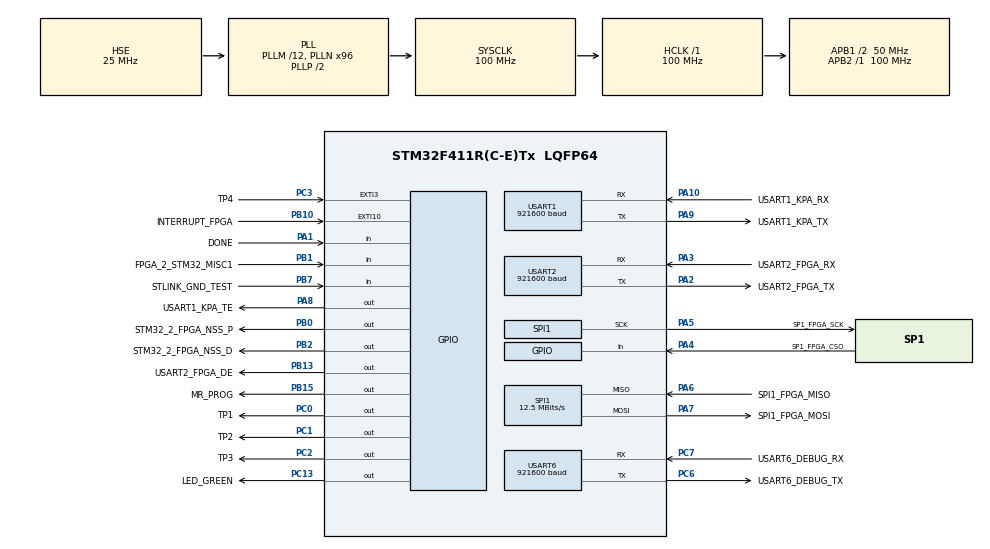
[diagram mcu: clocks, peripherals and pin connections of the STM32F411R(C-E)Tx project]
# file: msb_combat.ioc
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ADC1.Channel-0\#ChannelRegularConversion=ADC_CHANNEL_VREFINT
ADC1.Channel-1\#ChannelRegularConversion=ADC_CHANNEL_TEMPSENSOR
ADC1.ContinuousConvMode=DISABLE
ADC1.ExternalTrigConv=ADC_SOFTWARE_START
ADC1.InjNumberOfConversion=0
ADC1.NbrOfConversion=2
ADC1.NbrOfConversionFlag=1
ADC1.Rank-0\#ChannelRegularConversion=1
ADC1.Rank-1\#ChannelRegularConversion=2
ADC1.SamplingTime-0\#ChannelRegularConversion=ADC_SAMPLETIME_480CYCLES
ADC1.SamplingTime-1\#ChannelRegularConversion=ADC_SAMPLETIME_480CYCLES
ADC1.ScanConvMode=ENABLE
ADC1.master=1
Dma.Request0=USART6_RX
Dma.Request1=USART6_TX
Dma.Request2=USART1_RX
Dma.Request3=USART1_TX
Dma.Request4=USART2_RX
Dma.Request5=USART2_TX
Dma.USART1_RX.2.Direction=DMA_PERIPH_TO_MEMORY
Dma.USART1_RX.2.FIFOMode=DMA_FIFOMODE_DISABLE
Dma.USART1_RX.2.Instance=DMA2_Stream2
Dma.USART1_RX.2.MemDataAlignment=DMA_MDATAALIGN_BYTE
Dma.USART1_RX.2.MemInc=DMA_MINC_ENABLE
Dma.USART1_RX.2.Mode=DMA_CIRCULAR
Dma.USART1_RX.2.PeriphDataAlignment=DMA_PDATAALIGN_BYTE
Dma.USART1_RX.2.PeriphInc=DMA_PINC_DISABLE
Dma.USART1_RX.2.Priority=DMA_PRIORITY_LOW
Dma.USART1_TX.3.Direction=DMA_MEMORY_TO_PERIPH
Dma.USART1_TX.3.FIFOMode=DMA_FIFOMODE_DISABLE
Dma.USART1_TX.3.Instance=DMA2_Stream7
Dma.USART1_TX.3.MemDataAlignment=DMA_MDATAALIGN_BYTE
Dma.USART1_TX.3.MemInc=DMA_MINC_ENABLE
Dma.USART1_TX.3.Mode=DMA_NORMAL
Dma.USART1_TX.3.PeriphDataAlignment=DMA_PDATAALIGN_BYTE
Dma.USART1_TX.3.PeriphInc=DMA_PINC_DISABLE
Dma.USART1_TX.3.Priority=DMA_PRIORITY_LOW
Dma.USART2_RX.4.Direction=DMA_PERIPH_TO_MEMORY
Dma.USART2_RX.4.FIFOMode=DMA_FIFOMODE_DISABLE
Dma.USART2_RX.4.Instance=DMA1_Stream5
Dma.USART2_RX.4.MemDataAlignment=DMA_MDATAALIGN_BYTE
Dma.USART2_RX.4.MemInc=DMA_MINC_ENABLE
Dma.USART2_RX.4.Mode=DMA_NORMAL
Dma.USART2_RX.4.PeriphDataAlignment=DMA_PDATAALIGN_BYTE
Dma.USART2_RX.4.PeriphInc=DMA_PINC_DISABLE
Dma.USART2_RX.4.Priority=DMA_PRIORITY_LOW
Dma.USART2_TX.5.Direction=DMA_MEMORY_TO_PERIPH
Dma.USART2_TX.5.FIFOMode=DMA_FIFOMODE_DISABLE
Dma.USART2_TX.5.Instance=DMA1_Stream6
Dma.USART2_TX.5.MemDataAlignment=DMA_MDATAALIGN_BYTE
Dma.USART2_TX.5.MemInc=DMA_MINC_ENABLE
Dma.USART2_TX.5.Mode=DMA_NORMAL
Dma.USART2_TX.5.PeriphDataAlignment=DMA_PDATAALIGN_BYTE
Dma.USART2_TX.5.PeriphInc=DMA_PINC_DISABLE
Dma.USART2_TX.5.Priority=DMA_PRIORITY_LOW
Dma.USART6_RX.0.Direction=DMA_PERIPH_TO_MEMORY
Dma.USART6_RX.0.FIFOMode=DMA_FIFOMODE_DISABLE
Dma.USART6_RX.0.Instance=DMA2_Stream1
Dma.USART6_RX.0.MemDataAlignment=DMA_MDATAALIGN_BYTE
Dma.USART6_RX.0.MemInc=DMA_MINC_ENABLE
Dma.USART6_RX.0.Mode=DMA_CIRCULAR
Dma.USART6_RX.0.PeriphDataAlignment=DMA_PDATAALIGN_BYTE
Dma.USART6_RX.0.PeriphInc=DMA_PINC_DISABLE
Dma.USART6_RX.0.Priority=DMA_PRIORITY_LOW
Dma.USART6_TX.1.Direction=DMA_MEMORY_TO_PERIPH
Dma.USART6_TX.1.FIFOMode=DMA_FIFOMODE_DISABLE
Dma.USART6_TX.1.Instance=DMA2_Stream6
Dma.USART6_TX.1.MemDataAlignment=DMA_MDATAALIGN_BYTE
Dma.USART6_TX.1.MemInc=DMA_MINC_ENABLE
Dma.USART6_TX.1.Mode=DMA_NORMAL
Dma.USART6_TX.1.PeriphDataAlignment=DMA_PDATAALIGN_BYTE
Dma.USART6_TX.1.PeriphInc=DMA_PINC_DISABLE
Dma.USART6_TX.1.Priority=DMA_PRIORITY_LOW
FREERTOS.Tasks01=defaultTask,32,1024,StartDefaultTask,Default,NULL,Dynamic,NULL,NULL;TerminalTask,24,1024,StartTerminalTask,Default,NULL,Dynamic,NULL,NULL;TemperatureTask,8,1024,StartTemperatureTask,Default,NULL,Dynamic,NULL,NULL
FREERTOS.configTOTAL_HEAP_SIZE=32768
FREERTOS.configUSE_NEWLIB_REENTRANT=1
Mcu.Family=STM32F4
Mcu.Name=STM32F411R(C-E)Tx
Mcu.Package=LQFP64
NVIC.DMA1_Stream5_IRQn=true\:5\:0\:false\:false\:true\:true\:false\:true\:true
NVIC.DMA1_Stream6_IRQn=true\:5\:0\:false\:false\:true\:true\:false\:true\:true
NVIC.DMA2_Stream1_IRQn=true\:5\:0\:false\:false\:true\:true\:false\:true\:true
NVIC.DMA2_Stream2_IRQn=true\:5\:0\:false\:false\:true\:true\:false\:true\:true
NVIC.DMA2_Stream6_IRQn=true\:5\:0\:false\:false\:true\:true\:false\:true\:true
NVIC.DMA2_Stream7_IRQn=true\:5\:0\:false\:false\:true\:true\:false\:true\:true
NVIC.PriorityGroup=NVIC_PRIORITYGROUP_4
NVIC.TIM1_UP_TIM10_IRQn=true\:15\:0\:false\:false\:true\:false\:false\:true\:true
NVIC.TimeBase=TIM1_UP_TIM10_IRQn
NVIC.TimeBaseIP=TIM10
NVIC.USART1_IRQn=true\:5\:0\:false\:false\:true\:true\:true\:true\:true
NVIC.USART2_IRQn=true\:5\:0\:false\:false\:true\:true\:true\:true\:true
NVIC.USART6_IRQn=true\:5\:0\:false\:false\:true\:true\:true\:true\:true
PA1.GPIO_Label=DONE
PA1.Signal=GPIO_Input
PA10.GPIO_Label=USART1_KPA_RX
PA10.Mode=Asynchronous
PA10.Signal=USART1_RX
PA13.Mode=Trace_Asynchronous_SW
PA13.Signal=SYS_JTMS-SWDIO
PA14.Mode=Trace_Asynchronous_SW
PA14.Signal=SYS_JTCK-SWCLK
PA2.GPIO_Label=USART2_FPGA_TX
PA2.Mode=Asynchronous
PA2.Signal=USART2_TX
PA3.GPIO_Label=USART2_FPGA_RX
PA3.Mode=Asynchronous
PA3.Signal=USART2_RX
PA4.GPIO_Label=SP1_FPGA_CSO
PA4.Signal=GPIO_Input
PA5.GPIO_Label=SP1_FPGA_SCK
PA5.Mode=Full_Duplex_Master
PA5.Signal=SPI1_SCK
PA6.GPIO_Label=SPI1_FPGA_MISO
PA6.Mode=Full_Duplex_Master
PA6.Signal=SPI1_MISO
PA7.GPIO_Label=SPI1_FPGA_MOSI
PA7.Mode=Full_Duplex_Master
PA7.Signal=SPI1_MOSI
PA8.GPIO_Label=USART1_KPA_TE
PA8.Signal=GPIO_Output
PA9.GPIO_Label=USART1_KPA_TX
PA9.Mode=Asynchronous
PA9.Signal=USART1_TX
PB0.GPIO_Label=STM32_2_FPGA_NSS_P
PB0.GPIO_PuPd=GPIO_PULLUP
PB0.GPIO_Speed=GPIO_SPEED_FREQ_VERY_HIGH
PB0.PinState=GPIO_PIN_SET
PB0.Signal=GPIO_Output
PB1.GPIO_Label=FPGA_2_STM32_MISC1
PB1.GPIO_PuPd=GPIO_PULLUP
PB1.Signal=GPIO_Input
PB10.GPIO_Label=INTERRUPT_FPGA
PB10.Signal=GPXTI10
PB13.GPIO_Label=USART2_FPGA_DE
PB13.GPIO_Speed=GPIO_SPEED_FREQ_HIGH
PB13.Signal=GPIO_Output
PB15.GPIO_Label=MR_PROG
PB15.Signal=GPIO_Output
PB2.GPIO_Label=STM32_2_FPGA_NSS_D
PB2.PinState=GPIO_PIN_SET
PB2.Signal=GPIO_Output
PB3.Mode=Trace_Asynchronous_SW
PB3.Signal=SYS_JTDO-SWO
PB7.GPIO_Label=STLINK_GND_TEST
PB7.GPIO_PuPd=GPIO_PULLUP
PB7.Signal=GPIO_Input
PC0.GPIO_Label=TP1
PC0.Signal=GPIO_Output
PC1.GPIO_Label=TP2
PC1.Signal=GPIO_Output
PC13-ANTI_TAMP.GPIO_Label=LED_GREEN
PC13-ANTI_TAMP.Signal=GPIO_Output
PC2.GPIO_Label=TP3
PC2.Signal=GPIO_Output
PC3.GPIO_Label=TP4
PC3.Signal=GPXTI3
PC6.GPIO_Label=USART6_DEBUG_TX
PC6.Mode=Asynchronous
PC6.Signal=USART6_TX
PC7.GPIO_Label=USART6_DEBUG_RX
PC7.Mode=Asynchronous
PC7.Signal=USART6_RX
PH0\ -\ OSC_IN.GPIO_Label=CLK25MHZ
PH0\ -\ OSC_IN.Mode=HSE-External-Clock-Source
PH0\ -\ OSC_IN.Signal=RCC_OSC_IN
PH1\ -\ OSC_OUT.Mode=HSE-External-Clock-Source
PH1\ -\ OSC_OUT.Signal=RCC_OSC_OUT
ProjectManager.HeapSize=0x4000
ProjectManager.StackSize=0x2000
ProjectManager.TargetToolchain=STM32CubeIDE
RCC.48MHZClocksFreq_Value=50000000
RCC.AHBFreq_Value=100000000
RCC.APB1CLKDivider=RCC_HCLK_DIV2
RCC.APB1Freq_Value=50000000
RCC.APB1TimFreq_Value=100000000
RCC.APB2Freq_Value=100000000
RCC.APB2TimFreq_Value=100000000
RCC.CortexFreq_Value=100000000
RCC.HCLKFreq_Value=100000000
RCC.HSE_VALUE=25000000
RCC.HSI_VALUE=16000000
RCC.LSE_VALUE=32768
RCC.PLLM=12
RCC.PLLN=96
RCC.PLLSourceVirtual=RCC_PLLSOURCE_HSE
RCC.SYSCLKFreq_VALUE=100000000
RCC.SYSCLKSource=RCC_SYSCLKSOURCE_PLLCLK
RCC.VCOOutputFreq_Value=200000000
SPI1.BaudRatePrescaler=SPI_BAUDRATEPRESCALER_8
SPI1.CLKPolarity=SPI_POLARITY_LOW
SPI1.CalculateBaudRate=12.5 MBits/s
SPI1.DataSize=SPI_DATASIZE_16BIT
SPI1.Direction=SPI_DIRECTION_2LINES
SPI1.Mode=SPI_MODE_MASTER
SPI1.VirtualType=VM_MASTER
USART1.BaudRate=921600
USART1.Parity=PARITY_EVEN
USART1.VirtualMode=VM_ASYNC
USART1.WordLength=WORDLENGTH_9B
USART2.BaudRate=921600
USART2.Parity=PARITY_EVEN
USART2.VirtualMode=VM_ASYNC
USART2.WordLength=WORDLENGTH_9B
USART6.BaudRate=921600
USART6.Parity=PARITY_EVEN
USART6.VirtualMode=VM_ASYNC
USART6.WordLength=WORDLENGTH_9B
VP_ADC1_TempSens_Input.Mode=IN-TempSens
VP_ADC1_Vref_Input.Mode=IN-Vrefint
VP_CRC_VS_CRC.Mode=CRC_Activate
VP_FREERTOS_VS_CMSIS_V2.Mode=CMSIS_V2
VP_SYS_VS_tim10.Mode=TIM10
board=custom

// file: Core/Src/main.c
/* USER CODE BEGIN Header */
/**
  ******************************************************************************
  * @file           : main.c
  * @brief          : Main program body
  ******************************************************************************
  * @attention
  *
  * Copyright (c) 2026 STMicroelectronics.
  * All rights reserved.
  *
  * This software is licensed under terms that can be found in the LICENSE file
  * in the root directory of this software component.
  * If no LICENSE file comes with this software, it is provided AS-IS.
  *
  ******************************************************************************
  */
/* USER CODE END Header */
#include "main.h"
#include "cmsis_os.h"
#include "adc.h"
#include "crc.h"
#include "dma.h"
#include "spi.h"
#include "usart.h"
#include "gpio.h"

/* USER CODE BEGIN Includes */
#include "board_support_package.h"
/* USER CODE END Includes */

void SystemClock_Config(void);
void MX_FREERTOS_Init(void);

int main(void)
{

  /* USER CODE BEGIN 1 */

#if (APPLICATION_USE_BOOTLOADER == 1)
		SCB->VTOR = 0x08020000U;
		__enable_irq();
#endif
  /* USER CODE END 1 */

  /* MCU Configuration--------------------------------------------------------*/

  /* Reset of all peripherals, Initializes the Flash interface and the Systick. */
  HAL_Init();

  /* Configure the system clock */
  SystemClock_Config();

  /* Initialize all configured peripherals */
  MX_GPIO_Init();
  MX_DMA_Init();
  MX_USART6_UART_Init();
  MX_USART1_UART_Init();
  MX_USART2_UART_Init();
  MX_SPI1_Init();
  MX_ADC1_Init();
  MX_CRC_Init();

  /* Init scheduler */
  osKernelInitialize();  /* Call init function for freertos objects (in cmsis_os2.c) */
  MX_FREERTOS_Init();

  /* Start scheduler */
  osKernelStart();

  /* We should never get here as control is now taken by the scheduler */

  /* Infinite loop */
  while (1)
  {

  }
}

void SystemClock_Config(void)
{
  RCC_OscInitTypeDef RCC_OscInitStruct = {0};
  RCC_ClkInitTypeDef RCC_ClkInitStruct = {0};

  /** Configure the main internal regulator output voltage
  */
  __HAL_RCC_PWR_CLK_ENABLE();
  __HAL_PWR_VOLTAGESCALING_CONFIG(PWR_REGULATOR_VOLTAGE_SCALE1);

  /** Initializes the RCC Oscillators according to the specified parameters
  * in the RCC_OscInitTypeDef structure.
  */
  RCC_OscInitStruct.OscillatorType = RCC_OSCILLATORTYPE_HSE;
  RCC_OscInitStruct.HSEState = RCC_HSE_BYPASS;
  RCC_OscInitStruct.PLL.PLLState = RCC_PLL_ON;
  RCC_OscInitStruct.PLL.PLLSource = RCC_PLLSOURCE_HSE;
  RCC_OscInitStruct.PLL.PLLM = 12;
  RCC_OscInitStruct.PLL.PLLN = 96;
  RCC_OscInitStruct.PLL.PLLP = RCC_PLLP_DIV2;
  RCC_OscInitStruct.PLL.PLLQ = 4;
  if (HAL_RCC_OscConfig(&RCC_OscInitStruct) != HAL_OK)
  {
    Error_Handler();
  }

  /** Initializes the CPU, AHB and APB buses clocks
  */
  RCC_ClkInitStruct.ClockType = RCC_CLOCKTYPE_HCLK|RCC_CLOCKTYPE_SYSCLK
                              |RCC_CLOCKTYPE_PCLK1|RCC_CLOCKTYPE_PCLK2;
  RCC_ClkInitStruct.SYSCLKSource = RCC_SYSCLKSOURCE_PLLCLK;
  RCC_ClkInitStruct.AHBCLKDivider = RCC_SYSCLK_DIV1;
  RCC_ClkInitStruct.APB1CLKDivider = RCC_HCLK_DIV2;
  RCC_ClkInitStruct.APB2CLKDivider = RCC_HCLK_DIV1;

  if (HAL_RCC_ClockConfig(&RCC_ClkInitStruct, FLASH_LATENCY_3) != HAL_OK)
  {
    Error_Handler();
  }
}

void HAL_TIM_PeriodElapsedCallback(TIM_HandleTypeDef *htim)
{
  if (htim->Instance == TIM10)
  {
    HAL_IncTick();
  }
}

void Error_Handler(void)
{
  __disable_irq();
  while (1)
  {
  }
}

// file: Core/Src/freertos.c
/* USER CODE BEGIN Header */
/**
  ******************************************************************************
  * File Name          : freertos.c
  * Description        : Code for FreeRTOS applications (combat).
  *                      Optimized Task Stacks, Diagnostics, and Deterministic Timing.
  *                      All comments in ASCII English.
  ******************************************************************************
  * @attention
  *
  * Copyright (c) 2026 STMicroelectronics.
  * All rights reserved.
  *
  * This software is licensed under terms that can be found in the LICENSE file
  * in the root directory of this software component.
  * If no LICENSE file comes with this software, it is provided AS-IS.
  *
  ******************************************************************************
  */
/* USER CODE END Header */

#include "FreeRTOS.h"
#include "task.h"
#include "main.h"
#include "cmsis_os.h"

/* USER CODE BEGIN Includes */
#include "board_support_package.h"
#include "pin_mgmt.h"
#include "terminal.h"
#include "fpga_control.h"
#include "fcs.h"
/* USER CODE END Includes */

/* USER CODE BEGIN PD */
/* Synchronization flag to release tasks after hardware POST */
#define TASK_START_FLAG 0x01U
/* USER CODE END PD */

/* USER CODE BEGIN Variables */
extern float cpu_temperature;
extern float adc_voltage;
uint32_t fcs_task_counter = 0;

extern FPGA_HandleTypeDef hfpga_bridge;
/* USER CODE END Variables */
/* Definitions for defaultTask */
osThreadId_t defaultTaskHandle;
const osThreadAttr_t defaultTask_attributes = {
  .name = "defaultTask",
  .stack_size = 1024 * 4,
  .priority = (osPriority_t) osPriorityAboveNormal,
};
/* Definitions for TerminalTask */
osThreadId_t TerminalTaskHandle;
const osThreadAttr_t TerminalTask_attributes = {
  .name = "TerminalTask",
  .stack_size = 1024 * 4,
  .priority = (osPriority_t) osPriorityNormal,
};
/* Definitions for TemperatureTask */
osThreadId_t TemperatureTaskHandle;
const osThreadAttr_t TemperatureTask_attributes = {
  .name = "TemperatureTask",
  .stack_size = 1024 * 4,
  .priority = (osPriority_t) osPriorityLow,
};

void StartDefaultTask(void *argument);
void StartTerminalTask(void *argument);
void StartTemperatureTask(void *argument);

void MX_FREERTOS_Init(void); /* (MISRA C 2004 rule 8.1) */

void MX_FREERTOS_Init(void) {

  /* Create the thread(s) */
  /* creation of defaultTask */
  defaultTaskHandle = osThreadNew(StartDefaultTask, NULL, &defaultTask_attributes);

  /* creation of TerminalTask */
  TerminalTaskHandle = osThreadNew(StartTerminalTask, NULL, &TerminalTask_attributes);

  /* creation of TemperatureTask */
  TemperatureTaskHandle = osThreadNew(StartTemperatureTask, NULL, &TemperatureTask_attributes);

}

void StartDefaultTask(void *argument)
{
  /* USER CODE BEGIN StartDefaultTask */

	/* 1. Run board-level POST and hardware initialization */
	init_hardware();

	/* 2. Cascade start background tasks based on diagnostic results */
	if (test_status_hardware(_B_FAULT_TERMINAL_)) {
		osThreadFlagsSet(TerminalTaskHandle, TASK_START_FLAG);
	}

	if (test_status_hardware(_B_FAULT_PINS_)) {
		osThreadFlagsSet(TemperatureTaskHandle, TASK_START_FLAG);
	}

	/* 3. Operational Branch vs Error Loop */
	if (get_status_hardware() == _B_TEST_HARDWARE_SUCCESS_) {
		/* All hardware tests passed: Enter main FCS real-time loop */
		for (;;) {
			/* ========================================================= */
			/* ТЕСТОВЫЙ ИМПУЛЬС 10 мкс ДЛЯ ОСЦИЛЛОГРАФА НА TP2 (PC1)     */
			/* ========================================================= */
			/*
			PIN_Set_F(&pin_tp2);  TP2 -> HIGH (1)
			delay_us(10);  Ровно 10 микросекунд через DWT
			PIN_Reset_F(&pin_tp2);  TP2 -> LOW (0)
			 */

			fcs_task();              /* 20 ms periodic FCS execution (50 Hz) */
			++fcs_task_counter;
			PIN_Toggle_F(&pin_tp1);   /* Fast Test Point 1 heartbeat toggle */
		}
	} else {
		/* Hardware fault detected: Blink FPGA Red LED and on-board Green LED */
		for (;;) {
			PIN_Set_F(&pin_led_green);
			FPGA_Debug_Write_LEDs(&hfpga_bridge, ON, OFF, OFF, 10);
			osDelay(500);

			PIN_Reset_F(&pin_led_green);
			FPGA_Debug_Write_LEDs(&hfpga_bridge, OFF, OFF, OFF, 10);
			osDelay(500);
		}
	}
  /* USER CODE END StartDefaultTask */
}

void StartTerminalTask(void *argument)
{
  /* USER CODE BEGIN StartTerminalTask */
	/* Wait for authorization flag from defaultTask. Sleeps with 0% CPU load. */
	osThreadFlagsWait(TASK_START_FLAG, osFlagsWaitAny, osWaitForever);

	/* Infinite loop */
	for (;;) {
		terminal_task();
	}
  /* USER CODE END StartTerminalTask */
}

void StartTemperatureTask(void *argument)
{
  /* USER CODE BEGIN StartTemperatureTask */
	static uint32_t last_wake_time = 0;

	/* Wait for authorization flag from defaultTask */
	osThreadFlagsWait(TASK_START_FLAG, osFlagsWaitAny, osWaitForever);
	last_wake_time = osKernelGetTickCount();

	/* Infinite loop (Deterministic 100 ms rate) */
	for (;;) {
		cpu_temperature = Read_Temperature();

		last_wake_time += (100U * osKernelGetTickFreq()) / 1000U;
		osDelayUntil(last_wake_time);
	}
  /* USER CODE END StartTemperatureTask */
}
